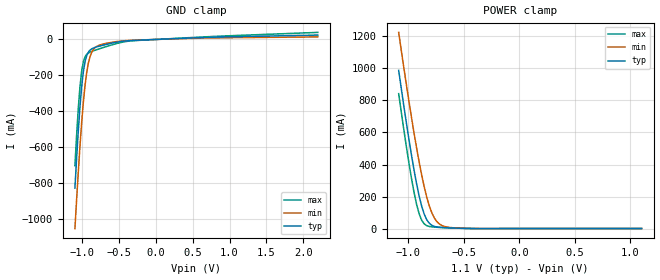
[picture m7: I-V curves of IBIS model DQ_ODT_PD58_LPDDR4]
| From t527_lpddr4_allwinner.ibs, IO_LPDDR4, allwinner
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|   Model DQ_ODT_PD58_LPDDR4
[Model] DQ_ODT_PD58_LPDDR4
Model_type Input
Polarity   Non-Inverting
Enable   Active-High
Vinl =  0.550V
Vinh =  0.550V
C_comp   1.610pF   1.575pF   1.669pF
C_comp_power_clamp   0.557pF   0.535pF   0.582pF
C_comp_gnd_clamp   0.790pF   0.765pF   0.826pF
[Model Spec]
Vinh   0.550V   0.530V   0.585V
Vinl   0.550V   0.530V   0.585V
[Temperature Range]   25.000   0.125k   -40.000
[Voltage Range]   1.100V   1.060V   1.170V
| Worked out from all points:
|   GND clamp passes 1 mA (typ) near -0.06 V on its own axis
|   POWER clamp passes 1 mA (typ) near -0.48 V on its own axis
[GND_clamp]
|Voltage   I(typ)   I(min)   I(max)
-1.1V     -826mA     -1.051A    -701.3mA
-1.054V   -506.8mA   -735.3mA   -382.4mA
-1.031V   -371.4mA   -590.5mA   -260.6mA
-1.008V   -260.4mA   -459.4mA   -174.4mA
-985mV    -177.7mA   -345.9mA   -122.8mA
-962mV    -122.4mA   -252.6mA   -95.85mA
-916mV    -69.57mA   -128.7mA   -74.94mA
-870mV    -51.83mA   -69.68mA   -66.25mA
-824mV    -43.84mA   -44.63mA   -59.57mA
-663mV    -26.58mA   -20.64mA   -38.25mA
-318mV    -5.752mA   -4.56mA    -7.392mA
2.2V      24.32mA    14.21mA    39.19mA
[POWER_clamp]
|Voltage   I(typ)   I(min)   I(max)
-1.085V   988.4mA    1.225A     842.4mA
-1.016V   661.3mA    900.4mA    512.6mA
-970mV    459.3mA    695.4mA    314.2mA
-924mV    280.2mA    504.3mA    151.4mA
-901mV    203.8mA    416.1mA    92.18mA
-855mV    89.35mA    259.9mA    28.91mA
-809mV    32.36mA    140.1mA    12.7mA
-763mV    13.33mA    64.55mA    8.836mA
-717mV    7.735mA    27.45mA    7.005mA
-648mV    4.771mA    8.977mA    4.815mA
-464mV    726.2uA    1.53mA     283.1uA
1.1V      0A         0A         0A
